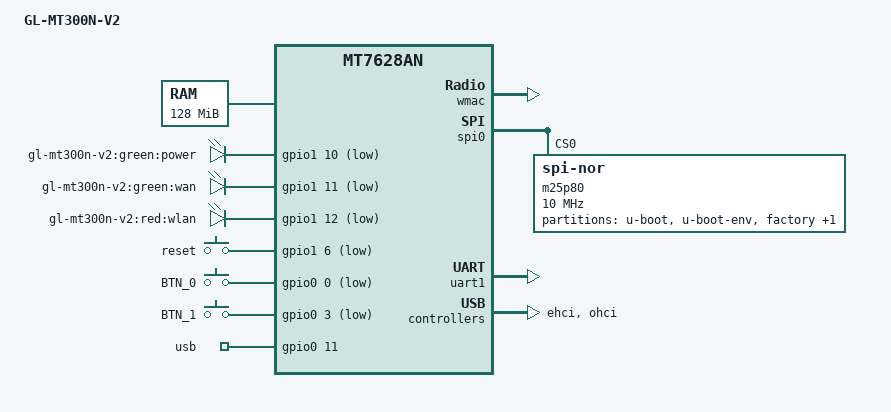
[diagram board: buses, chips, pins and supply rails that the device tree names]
/dts-v1/;

#include "mt7628an.dtsi"

#include <dt-bindings/gpio/gpio.h>
#include <dt-bindings/input/input.h>

/{
	compatible = "glinet,gl-mt300n-v2", "mediatek,mt7628an-soc";
	model = "GL-MT300N-V2";

	aliases {
		led-boot = &led_power;
		led-failsafe = &led_power;
		led-running = &led_power;
		led-upgrade = &led_power;
	};

	chosen {
		bootargs = "console=ttyS0,115200";
	};

	memory@0 {
		device_type = "memory";
		reg = <0x0 0x8000000>;
	};

	gpio-leds {
		compatible = "gpio-leds";

		led_power: power {
			label = "gl-mt300n-v2:green:power";
			default-state = "on";
			gpios = <&gpio1 10 GPIO_ACTIVE_LOW>;
		};

		wan {
			label = "gl-mt300n-v2:green:wan";
			gpios = <&gpio1 11 GPIO_ACTIVE_LOW>;
		};

		wlan {
			label = "gl-mt300n-v2:red:wlan";
			gpios = <&gpio1 12 GPIO_ACTIVE_LOW>;
		};
	};

	gpio-keys {
		compatible = "gpio-keys-polled";
		poll-interval = <20>;

		reset {
			label = "reset";
			gpios = <&gpio1 6 GPIO_ACTIVE_LOW>;
			linux,code = <KEY_RESTART>;
		};

		BTN_0 {
			label = "BTN_0";
			gpios = <&gpio0 0 GPIO_ACTIVE_LOW>;
			linux,code = <BTN_0>;
		};

		BTN_1 {
			label = "BTN_1";
			gpios = <&gpio0 3 GPIO_ACTIVE_LOW>;
			linux,code = <BTN_1>;
		};
	};

	gpio_export {
		compatible = "gpio-export";
		#size-cells = <0>;

		usb {
			gpio-export,name = "usb";
			gpio-export,output = <1>;
			gpios = <&gpio0 11 GPIO_ACTIVE_HIGH>;
		};
	};
};

&pinctrl {
	state_default: pinctrl0 {
		gpio {
			ralink,group = "wdt", "gpio", "wled_an", "p0led_an", "p1led_an", "i2s";
			ralink,function = "gpio";
		};
	};
};

&ethernet {
	mtd-mac-address = <&factory 0x4>;
};

&wmac {
	status = "okay";
	ralink,mtd-eeprom = <&factory 0x0>;
};

&spi0 {
	status = "okay";

	m25p80@0 {
		compatible = "jedec,spi-nor";
		reg = <0>;
		spi-max-frequency = <10000000>;
		m25p,chunked-io = <32>;

		partitions {
			compatible = "fixed-partitions";
			#address-cells = <1>;
			#size-cells = <1>;

			partition@0 {
				label = "u-boot";
				reg = <0x0 0x30000>;
				read-only;
			};

			partition@30000 {
				label = "u-boot-env";
				reg = <0x30000 0x10000>;
				read-only;
			};

			factory: partition@40000 {
				label = "factory";
				reg = <0x40000 0x10000>;
				read-only;
			};

			partition@50000 {
				label = "firmware";
				reg = <0x50000 0xfb0000>;
			};
		};
	};
};

&uart1 {
	status = "okay";
};

&ehci {
	status = "okay";
};

&ohci {
	status = "okay";
};
